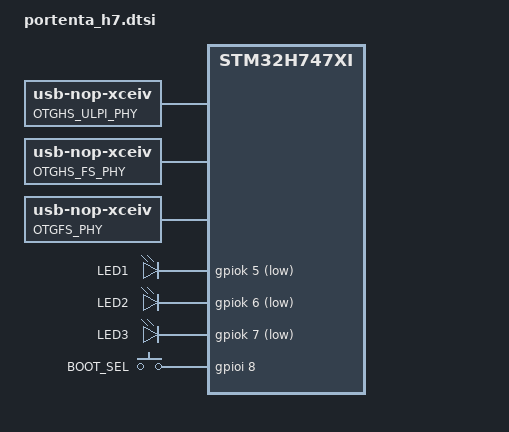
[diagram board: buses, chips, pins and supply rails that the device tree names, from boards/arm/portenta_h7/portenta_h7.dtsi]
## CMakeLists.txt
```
zephyr_library()
zephyr_library_sources_ifdef(CONFIG_BOARD_PORTENTA_H7_M7 board.c)
```

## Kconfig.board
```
# SPDX-License-Identifier: Apache-2.0

config BOARD_PORTENTA_H7_M7
	bool "ARDUINO PORTENTA H7 M7 Development Board"
	depends on SOC_STM32H747XX
	select CPU_CORTEX_M7
  select USE_STM32_HAL_GPIO
  select USE_STM32_HAL_RCC

config BOARD_PORTENTA_H7_M4
	bool "ARDUINO PORTENTA H7 M4 Development Board"
	depends on SOC_STM32H747XX
	select CPU_CORTEX_M4
```

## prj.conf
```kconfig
CONFIG_GPIO=y
CONFIG_PRINTK=y

CONFIG_USE_DT_CODE_PARTITION=y
CONFIG_REBOOT=y
CONFIG_MEMC=y
```

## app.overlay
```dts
/ {
    chosen {
        zephyr,console = &cdc_acm_uart0;
        zephyr,shell-uart = &cdc_acm_uart0;
    };
};
```

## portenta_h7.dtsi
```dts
/*
 * SPDX-License-Identifier: Apache-2.0
 */
#include <st/h7/stm32h747Xi_m7.dtsi>
#include <st/h7/stm32h747xihx-pinctrl.dtsi>

/ {
    soc {
        usbotg_fs: usb@40080000 {
            compatible = "st,stm32-otgfs";
            reg = <0x40080000 0x40000>;
            interrupts = <101 0>, <98 0>, <99 0>;
            interrupt-names = "otgfs", "ep1_out", "ep1_in";
            num-bidir-endpoints = <6>;
            ram-size = <1280>;
            maximum-speed = "full-speed";
            phys = <&otgfs_phy>;
            clocks = <&rcc STM32_CLOCK_BUS_AHB2 0x00000080>;
            status = "disabled";
            label = "OTGFS";
        };

        usbotg_hs: usb@40040000 {
            compatible = "st,stm32-otghs";
            reg = <0x40040000 0x40000>;
            interrupts = <77 0>, <74 0>, <75 0>;
            interrupt-names = "otghs", "ep1_out", "ep1_in";
            num-bidir-endpoints = <9>;
            ram-size = <4096>;
            maximum-speed = "high-speed";
            clocks = <&rcc STM32_CLOCK_BUS_AHB1 0x4000000>;
            phys = <&otghs_ulpi_phy>;
            status = "disabled";
            label= "OTGHS";
        };

        pinctrl: pin-controller@58020000 {
            usb_otg_hs_ulpi_clk_pa5: usb_otg_hs_ulpi_clk_pa5 {
            pinmux = <STM32_PINMUX('A', 5, AF10)>;
            };
        };
    };

    otghs_ulpi_phy: otghs_ulpi_phy {
        compatible = "usb-nop-xceiv";
        #phy-cells = <0>;
        label = "OTGHS_ULPI_PHY";
        status="disabled";
    };

    otghs_fs_phy: otghs_fs_phy {
        compatible = "usb-nop-xceiv";
        #phy-cells = <0>;
        label = "OTGHS_FS_PHY";
        status="disabled";
    };

    otgfs_phy: otgfs_phy {
        compatible = "st,stm32-usbphyc";
        #phy-cells = <0>;
        label = "OTGFS_PHY";
        status="disabled";
    };

    gpioled: leds {
        compatible = "gpio-leds";
        red_led_1:led_1 {
            gpios = <&gpiok 5 GPIO_ACTIVE_LOW>;
            label = "LED1";
        };
        green_led_2:led_2 {
            gpios = <&gpiok 6 GPIO_ACTIVE_LOW>;
            label = "LED2";
        };
        blue_led_3:led_3 {
            gpios = <&gpiok 7 GPIO_ACTIVE_LOW>;
            label = "LED3";
        };
    };

    gpio_keys {
        compatible = "gpio-keys";
        boot_sel: button_1 {
            label = "BOOT_SEL";
            gpios = <&gpioi 8 GPIO_ACTIVE_HIGH>;
        };

        oscen: oscen {
            label = "OSCEN";
            gpios = <&gpioh 1 GPIO_ACTIVE_HIGH>;
            status = "disabled";
        };
    };

    sdram1: sdram@c0000000 {
        compatible = "zephyr,memory-region", "mmio-sram";
        device_type = "memory";
        reg = <0xc0000000 DT_SIZE_M(8)>;
        zephyr,memory-region = "SDRAM1";
    };

    aliases {
        led0 = &red_led_1;
        led1 = &green_led_2;
        led2 = &blue_led_3;
    };
};

&rcc {
    d1cpre = <1>;
    hpre = <2>;
    d1ppre = <2>;
    d2ppre1 = <2>;
    d2ppre2 = <2>;
    d3ppre = <2>;
};

&usart1 {
    pinctrl-0 = <&usart1_tx_pa9 &usart1_rx_pa10>;
    pinctrl-names = "default";
    current-speed = <115200>;
    status = "disabled";
};

&uart4 {
    pinctrl-0 = <&uart4_tx_pa0 &uart4_rx_pi9>;
    pinctrl-names = "default";
    current-speed = <115200>;
    status = "disabled";
};

&usart6 {
    pinctrl-0 = <&usart6_tx_pg14 &usart6_rx_pg9>;
    pinctrl-names = "default";
    current-speed = <115200>;
    status = "disabled";
};

&uart8 {
    pinctrl-0 = <&uart8_tx_pj8 &uart8_rx_pj9>;
    pinctrl-names = "default";
    current-speed = <115200>;
    status = "disabled";
};

&i2c1 {
    status = "disabled";
    pinctrl-names = "default";
    pinctrl-0 = <&i2c1_scl_pb6 &i2c1_sda_pb7>;
};

&i2c3 {
    status = "disabled";
    pinctrl-names = "default";
    pinctrl-0 = <&i2c3_scl_ph7 &i2c3_sda_ph8>;
};

&mac {
    status = "disabled";
    pinctrl-names = "default";
    pinctrl-0 = <&eth_ref_clk_pa1
               &eth_mdio_pa2
               &eth_crs_dv_pa7
               &eth_mdc_pc1
               &eth_rxd0_pc4
               &eth_rxd1_pc5
               &eth_tx_en_pg11
               &eth_txd0_pg13
               &eth_txd1_pg12>;
};

&fmc {
    status = "disabled";

    pinctrl-names = "default";
    pinctrl-0 = <
        /* control */
        &fmc_sdclk_pg8    &fmc_sdcke0_ph2
        &fmc_sdnwe_ph5    &fmc_sdne0_ph3
        &fmc_sdncas_pg15  &fmc_sdnras_pf11
        &fmc_nbl0_pe0     &fmc_nbl1_pe1

        /* address */
        &fmc_a0_pf0   &fmc_a1_pf1   &fmc_a2_pf2   &fmc_a3_pf3
        &fmc_a4_pf4   &fmc_a5_pf5   &fmc_a6_pf12  &fmc_a7_pf13
        &fmc_a8_pf14  &fmc_a9_pf15  &fmc_a10_pg0  &fmc_a11_pg1
        &fmc_a12_pg2

        /* bank address */
        &fmc_a14_pg4  &fmc_a15_pg5

        /* data */
        &fmc_d0_pd14  &fmc_d1_pd15  &fmc_d2_pd0   &fmc_d3_pd1
        &fmc_d4_pe7   &fmc_d5_pe8   &fmc_d6_pe9   &fmc_d7_pe10
        &fmc_d8_pe11  &fmc_d9_pe12  &fmc_d10_pe13 &fmc_d11_pe14
        &fmc_d12_pe15 &fmc_d13_pd8  &fmc_d14_pd9  &fmc_d15_pd10
    >;


    sdram {
        status = "disabled";

        power-up-delay = <100>;
        num-auto-refresh = <4>;
        mode-register = <0x0221>;

        refresh-rate = <761>; // 64ms

        bank@0 {
            reg = <0>;

            st,sdram-control = <
                STM32_FMC_SDRAM_NC_8
                STM32_FMC_SDRAM_NR_12
                STM32_FMC_SDRAM_MWID_16
                STM32_FMC_SDRAM_NB_4
                STM32_FMC_SDRAM_CAS_2
                STM32_FMC_SDRAM_SDCLK_PERIOD_2
                STM32_FMC_SDRAM_RBURST_DISABLE
                STM32_FMC_SDRAM_RPIPE_1
            >;
 
            st,sdram-timing = <2 7 4 7 2 2 2>;
        };
    };
};

&flash0 {
    partitions {
        compatible = "fixed-partitions";
        #address-cells = <1>;
        #size-cells = <1>;

        boot_partition: partition@0 {
            label = "mcuboot";
            reg = <0x000000000 0x40000>;
        };

        slot0_partition: partition@40000 {
            label = "image-0";
            reg = <0x00040000 0xC00000>;
        };

        slot1_partition: partition@100000 {
            label = "image-1";
            reg = <0x00100000 0x80000>;
        };

        storage: partition@1C0000 {
            label = "storage";
            reg = <0x001C0000 0x40000>;
        };
    };
};

&i2c1 {
    pmic: i2c1@0x08 {
        compatible = "i2c-device";
        reg = <0x08>;
        label = "PMIC";
    };
    crypto: i2c1@0x48 {
        compatible = "i2c-device";
        reg = <0x48>;
        label = "CRYPTO";
    };
};

&quadspi {
    pinctrl-names = "default";
    pinctrl-0 = <&quadspi_clk_pf10 &quadspi_bk1_ncs_pg6
                 &quadspi_bk1_io0_pd11 &quadspi_bk1_io1_pd12
                 &quadspi_bk1_io2_pf7 &quadspi_bk1_io3_pd13>;

    status = "disabled";

    flash-id = <1>;

    mx25l12833f: qspi-nor-flash@0 {
      compatible = "st,stm32-qspi-nor";
      label = "mx25l12833f";
      reg = <0>;
      qspi-max-frequency = <100000000>;
      spi-bus-width = <4>;
      size = <DT_SIZE_M(16*8)>;
      status = "disabled";
    };
};

&usbotg_hs {
    status = "disabled";
    pinctrl-names = "default";
    pinctrl-0 = <
      /* USB_OTG_HS_ULPI */
      &usb_otg_hs_ulpi_clk_pa5
      &usb_otg_hs_ulpi_d0_pa3
      &usb_otg_hs_ulpi_d1_pb0
      &usb_otg_hs_ulpi_d2_pb1
      &usb_otg_hs_ulpi_d3_pb10
      &usb_otg_hs_ulpi_d4_pb11
      &usb_otg_hs_ulpi_d5_pb12
      &usb_otg_hs_ulpi_d6_pb13
      &usb_otg_hs_ulpi_d7_pb5
      &usb_otg_hs_ulpi_stp_pc0
      &usb_otg_hs_ulpi_nxt_ph4
      &usb_otg_hs_ulpi_dir_pi11
    >;
};

&usbotg_fs {
    status = "disabled";
    pinctrl-names="default";
    pinctrl-0 = <&usb_otg_fs_dm_pa11 &usb_otg_fs_dp_pa12>;
};
```

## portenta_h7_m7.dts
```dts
/*
 * SPDX-License-Identifier: Apache-2.0
 */

/dts-v1/;

#include "portenta_h7.dtsi"

/ {
    model = "Arduino PORTENTA H7 board";
    compatible = "arduino,portenta-h7";

    chosen {
        zephyr,console = &uart4;
        zephyr,shell-uart = &uart4;
        zephyr,sram = &sram0;
        zephyr,flash = &flash0;
        zephyr,code-partition = &slot0_partition;
    };

    leds {
        red_led_1:led_1 {
            status = "okay";
        };
        green_led_2:led_2 {
            status = "okay";
        };
        blue_led_3:led_3 {
            status = "okay";
        };
    };
};

&oscen {
    status = "okay";
};

&clk_hse {
    hse-bypass;
    clock-frequency = <DT_FREQ_M(25)>;
    status = "okay";
};

&pll {
    clocks = <&clk_hse>;
    div-m = <5>;
    mul-n = <160>;
    div-p = <2>;
    div-q = <10>;
    div-r = <2>;
    status = "okay";
};

&rcc {
    clocks = <&pll>;
    clock-frequency = <DT_FREQ_M(400)>;
};

&uart4 {
    status = "okay";
};

&mac {
    status = "okay";
};

&rng {
    status = "okay";
};

&i2c1 {
    status = "okay";
};

&fmc {
	  status = "okay";
};

&sdram1 {
    status = "okay";
};

&quadspi {
    status = "okay";
};

&mx25l12833f {
    status = "okay";
};
```

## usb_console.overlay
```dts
/ {
    chosen {
        zephyr,console = &cdc_acm_uart0;
        zephyr,shell-uart = &cdc_acm_uart0;
    };
};
```

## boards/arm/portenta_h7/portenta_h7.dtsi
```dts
/*
 * SPDX-License-Identifier: Apache-2.0
 */
#include <st/h7/stm32h747Xi_m7.dtsi>
#include <st/h7/stm32h747xihx-pinctrl.dtsi>

/ {
    soc {
      usbotg_fs: usb@40080000 {
        compatible = "st,stm32-otgfs";
        reg = <0x40080000 0x40000>;
        interrupts = <101 0>, <98 0>, <99 0>;
        interrupt-names = "otgfs", "ep1_out", "ep1_in";
        num-bidir-endpoints = <6>;
        ram-size = <1280>;
        maximum-speed = "full-speed";
        phys = <&otgfs_phy>;
        clocks = <&rcc STM32_CLOCK_BUS_AHB2 0x00000080>;
        status = "disabled";
        label = "OTGFS";
      };

      usbotg_hs: usb@40040000 {
        compatible = "st,stm32-otghs";
        reg = <0x40040000 0x40000>;
        interrupts = <77 0>, <74 0>, <75 0>;
        interrupt-names = "otghs", "ep1_out", "ep1_in";
        num-bidir-endpoints = <9>;
        ram-size = <4096>;
        maximum-speed = "high-speed";
        clocks = <&rcc STM32_CLOCK_BUS_AHB1 0x4000000>;
        phys = <&otghs_ulpi_phy>;
        status = "disabled";
        label= "OTGHS";
      };

		  pinctrl: pin-controller@58020000 {
        usb_otg_hs_ulpi_clk_pa5: usb_otg_hs_ulpi_clk_pa5 {
          pinmux = <STM32_PINMUX('A', 5, AF10)>;
        };
      };
    };

    otghs_ulpi_phy: otghs_ulpi_phy {
      compatible = "usb-nop-xceiv";// "st,stm32-usbphyc";
      #phy-cells = <0>;
      // reg = <0>;
      label = "OTGHS_ULPI_PHY";
      status="okay";
    };

    otghs_fs_phy: otghs_fs_phy {
      compatible = "usb-nop-xceiv";
      #phy-cells = <0>;
      label = "OTGHS_FS_PHY";
    };

    otgfs_phy: otgfs_phy {
      compatible = "usb-nop-xceiv";
      #phy-cells = <0>;
      label = "OTGFS_PHY";
    };

    gpioled: leds {
        compatible = "gpio-leds";
        red_led_1:led_1 {
            gpios = <&gpiok 5 GPIO_ACTIVE_LOW>;
            label = "LED1";
        };
        green_led_2:led_2 {
            gpios = <&gpiok 6 GPIO_ACTIVE_LOW>;
            label = "LED2";
        };
        blue_led_3:led_3 {
            gpios = <&gpiok 7 GPIO_ACTIVE_LOW>;
            label = "LED3";
        };
    };

    gpio_keys {
        compatible = "gpio-keys";
        boot_sel: button_1 {
            label = "BOOT_SEL";
            gpios = <&gpioi 8 GPIO_ACTIVE_HIGH>;
        };

        oscen: oscen {
            label = "OSCEN";
            gpios = <&gpioh 1 GPIO_ACTIVE_HIGH>;
            status = "disabled";
        };
    };

    sdram1: sdram@c0000000 {
        compatible = "mmio-sram";
        device_type = "memory";
        reg = <0xc0000000 DT_SIZE_M(8)>;
        zephyr,memory-region = "SDRAM1";
    };

    aliases {
        led0 = &red_led_1;
        led1 = &green_led_2;
        led2 = &blue_led_3;
    };
};

&rcc {
    d1cpre = <1>;
    hpre = <2>;
    d1ppre = <2>;
    d2ppre1 = <2>;
    d2ppre2 = <2>;
    d3ppre = <2>;
};

&usart1 {
    pinctrl-0 = <&usart1_tx_pa9 &usart1_rx_pa10>;
    pinctrl-names = "default";
    current-speed = <115200>;
    status = "disabled";
};

&uart4 {
    pinctrl-0 = <&uart4_tx_pa0 &uart4_rx_pi9>;
    pinctrl-names = "default";
    current-speed = <115200>;
    status = "disabled";
};

&usart6 {
    pinctrl-0 = <&usart6_tx_pg14 &usart6_rx_pg9>;
    pinctrl-names = "default";
    current-speed = <115200>;
    status = "disabled";
};

&uart8 {
    pinctrl-0 = <&uart8_tx_pj8 &uart8_rx_pj9>;
    pinctrl-names = "default";
    current-speed = <115200>;
    status = "disabled";
};

&i2c1 {
    status = "disabled";
    pinctrl-names = "default";
    pinctrl-0 = <&i2c1_scl_pb6 &i2c1_sda_pb7>;
};

&i2c3 {
    status = "disabled";
    pinctrl-names = "default";
    pinctrl-0 = <&i2c3_scl_ph7 &i2c3_sda_ph8>;
};

&mac {
    status = "disabled";
    pinctrl-names = "default";
    pinctrl-0 = <&eth_ref_clk_pa1
               &eth_mdio_pa2
               &eth_crs_dv_pa7
               &eth_mdc_pc1
               &eth_rxd0_pc4
               &eth_rxd1_pc5
               &eth_tx_en_pg11
               &eth_txd0_pg13
               &eth_txd1_pg12>;
};

&fmc {
    status = "disabled";

    pinctrl-names = "default";
    pinctrl-0 = <
        /* control */
        &fmc_sdclk_pg8    &fmc_sdcke0_ph2
        &fmc_sdnwe_ph5    &fmc_sdne0_ph3
        &fmc_sdncas_pg15  &fmc_sdnras_pf11
        &fmc_nbl0_pe0     &fmc_nbl1_pe1

        /* address */
        &fmc_a0_pf0   &fmc_a1_pf1   &fmc_a2_pf2   &fmc_a3_pf3
        &fmc_a4_pf4   &fmc_a5_pf5   &fmc_a6_pf12  &fmc_a7_pf13
        &fmc_a8_pf14  &fmc_a9_pf15  &fmc_a10_pg0  &fmc_a11_pg1
        &fmc_a12_pg2

        /* bank address */
        &fmc_a14_pg4  &fmc_a15_pg5

        /* data */
        &fmc_d0_pd14  &fmc_d1_pd15  &fmc_d2_pd0   &fmc_d3_pd1
        &fmc_d4_pe7   &fmc_d5_pe8   &fmc_d6_pe9   &fmc_d7_pe10
        &fmc_d8_pe11  &fmc_d9_pe12  &fmc_d10_pe13 &fmc_d11_pe14
        &fmc_d12_pe15 &fmc_d13_pd8  &fmc_d14_pd9  &fmc_d15_pd10
    >;


    sdram {
        status = "disabled";

        power-up-delay = <100>;
        num-auto-refresh = <4>;
        mode-register = <0x0221>;

        refresh-rate = <761>; // 64ms

        bank@0 {
            reg = <0>;

            st,sdram-control = <
                STM32_FMC_SDRAM_NC_8
                STM32_FMC_SDRAM_NR_12
                STM32_FMC_SDRAM_MWID_16
                STM32_FMC_SDRAM_NB_4
                STM32_FMC_SDRAM_CAS_2
                STM32_FMC_SDRAM_SDCLK_PERIOD_2
                STM32_FMC_SDRAM_RBURST_DISABLE
                STM32_FMC_SDRAM_RPIPE_1
            >;
 
            st,sdram-timing = <2 7 4 7 2 2 2>;
        };
    };
};

&flash0 {
    partitions {
        compatible = "fixed-partitions";
        #address-cells = <1>;
        #size-cells = <1>;

        boot_partition: partition@0 {
            label = "mcuboot";
            reg = <0x000000000 0x40000>;
        };

        slot0_partition: partition@40000 {
            label = "image-0";
            reg = <0x00040000 0xC00000>;
        };

        slot1_partition: partition@100000 {
            label = "image-1";
            reg = <0x00100000 0x80000>;
        };

        storage: partition@1C0000 {
            label = "storage";
            reg = <0x001C0000 0x40000>;
        };
    };
};

&i2c1 {
    pmic: i2c1@0x08 {
        compatible = "i2c-device";
        reg = <0x08>;
        label = "PMIC";
    };
    crypto: i2c1@0x48 {
        compatible = "i2c-device";
        reg = <0x48>;
        label = "CRYPTO";
    };
};

&quadspi {
    pinctrl-names = "default";
    pinctrl-0 = <&quadspi_clk_pf10 &quadspi_bk1_ncs_pg6
                 &quadspi_bk1_io0_pd11 &quadspi_bk1_io1_pd12
                 &quadspi_bk1_io2_pf7 &quadspi_bk1_io3_pd13>;

    status = "disabled";
};

&sdmmc1 {
    compatible = "st,stm32-wifi-whd-sdio";

    pinctrl-names = "default";
    pinctrl-0 = <&sdmmc1_ck_pc12 &sdmmc1_cmd_pd2
                 &sdmmc1_d0_pc8 &sdmmc1_d1_pc9
                 &sdmmc1_d2_pc10 &sdmmc1_d3_pc11>;

    pwr-gpios = <&gpioj 1 GPIO_ACTIVE_HIGH>;
    wakeup-gpios = <&gpioj 5 GPIO_ACTIVE_HIGH>;

    status = "disabled";
};
```

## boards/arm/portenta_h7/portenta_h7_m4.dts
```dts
/*
 * SPDX-License-Identifier: Apache-2.0
 */

/dts-v1/;

#include "portenta_h7.dtsi"

/ {
    model = "Arduino PORTENTA H7 board";
    compatible = "arduino,portenta-h7";

    chosen {
        /* zephyr,console = &uart4; */
        /* zephyr,shell-uart = &uart4; */
        zephyr,sram = &sram1;
        zephyr,flash = &flash0;
        zephyr,code-partition = &slot1_partition;
    };

    leds {
        red_led_1:led_1 {
            status = "okay";
        };
        green_led_2:led_2 {
            status = "okay";
        };
        blue_led_3:led_3 {
            status = "okay";
        };
    };
};

&rcc {
    clock-frequency = <DT_FREQ_M(200)>;
};

&uart4 {
    /* status = "okay"; */
};
```

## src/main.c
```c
#include <logging/log.h>
LOG_MODULE_REGISTER(main);

#include <zephyr.h>
#include <kernel.h>
#include <device.h>
#include <drivers/gpio.h>
#include <drivers/led.h>

#include <usb/usb_device.h>

void main(void)
{
    usb_enable(NULL);

    const struct device* dev = DEVICE_DT_GET(DT_NODELABEL(gpioled)); 
    if (!device_is_ready(dev))
    {
        LOG_ERR("gpioled is not ready.");
        return;
    }

    while (1)
    {
#ifdef CONFIG_CPU_CORTEX_M7
        LOG_INF("led on\n");
        led_on(dev, 0);
        led_on(dev, 1);
        k_sleep(K_MSEC(500));

        LOG_INF("led off\n");
        led_off(dev, 0);
        led_off(dev, 1);
        k_sleep(K_MSEC(500));
#else
        led_on(dev, 2);
        k_sleep(K_MSEC(100));
        led_off(dev, 2);
        k_sleep(K_MSEC(100));
#endif
    }
}
```
